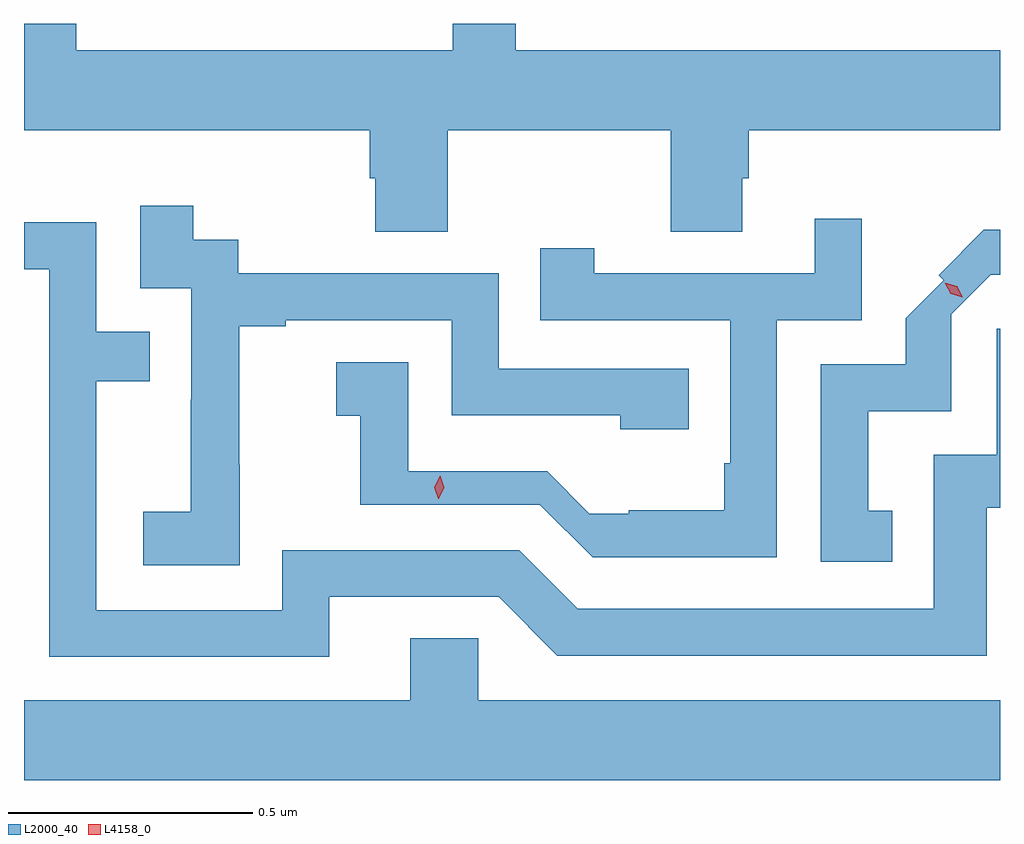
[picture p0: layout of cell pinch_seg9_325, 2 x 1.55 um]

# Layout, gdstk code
import gdstk
lib = gdstk.Library(unit=1e-6, precision=1e-09)
def P(c, l, *ps):  # polygons
    for p in ps: c.add(gdstk.Polygon(p, *l))
L2000_40 = (2000, 40)
L4158_0 = (4158, 0)

pinch_seg9_325 = lib.new_cell('pinch_seg9_325')
P(pinch_seg9_325, L2000_40, [(569.313,1180.436),(569.77,1180.436),(569.77,1180.228),(569.917,1180.228),(569.917,1180.338),(569.93,1180.338),(569.93,1180.436),(570.445,1180.436),(570.445,1180.6),(569.453,1180.6),(569.453,1180.655),(569.324,1180.655),(569.324,1180.6),(568.552,1180.6),(568.552,1180.655),(568.445,1180.655),(568.445,1180.436),(569.153,1180.436),(569.153,1180.338),(569.165,1180.338),(569.165,1180.228),(569.313,1180.228)],
  [(568.887,1179.751),(568.886,1179.751),(568.886,1180.035),(568.981,1180.035),(568.981,1180.047),(569.322,1180.047),(569.322,1179.852),(569.667,1179.852),(569.667,1179.824),(569.807,1179.824),(569.807,1179.948),(569.418,1179.948),(569.418,1180.143),(568.884,1180.143),(568.884,1180.212),(568.792,1180.212),(568.792,1180.282),(568.683,1180.282),(568.683,1180.113),(568.788,1180.113),(568.788,1179.884),(568.787,1179.884),(568.787,1179.655),(568.689,1179.655),(568.689,1179.545),(568.887,1179.545)],
  [(569.988,1180.047),(570.162,1180.047),(570.162,1180.255),(570.065,1180.255),(570.065,1180.143),(569.614,1180.143),(569.614,1180.195),(569.503,1180.195),(569.503,1180.047),(569.892,1180.047),(569.892,1179.754),(569.88,1179.754),(569.88,1179.658),(569.684,1179.658),(569.684,1179.651),(569.603,1179.651),(569.517,1179.738),(569.232,1179.738),(569.232,1179.961),(569.085,1179.961),(569.085,1179.851),(569.134,1179.851),(569.134,1179.669),(569.502,1179.669),(569.61,1179.561),(569.988,1179.561)],
  [(569.071,1179.48),(569.418,1179.48),(569.538,1179.36),(570.418,1179.36),(570.418,1179.663),(570.445,1179.663),(570.445,1180.03),(570.438,1180.03),(570.438,1179.771),(570.309,1179.771),(570.309,1179.456),(569.58,1179.456),(569.46,1179.576),(568.974,1179.576),(568.974,1179.453),(568.593,1179.453),(568.593,1179.922),(568.703,1179.922),(568.703,1180.023),(568.593,1180.023),(568.593,1180.248),(568.445,1180.248),(568.445,1180.152),(568.497,1180.152),(568.497,1179.357),(569.071,1179.357)],
  [(570.224,1179.657),(570.175,1179.657),(570.175,1179.861),(570.345,1179.861),(570.345,1180.059),(570.426,1180.14),(570.445,1180.14),(570.445,1180.232),(570.412,1180.232),(570.319,1180.139),(570.33,1180.129),(570.252,1180.051),(570.252,1179.957),(570.078,1179.957),(570.078,1179.552),(570.224,1179.552)],
  [(570.445,1179.268),(569.376,1179.268),(569.376,1179.395),(569.237,1179.395),(569.237,1179.268),(568.445,1179.268),(568.445,1179.104),(570.445,1179.104)])
P(pinch_seg9_325, L4158_0, [(570.368,1180.094),(570.344,1180.101),(570.332,1180.124),(570.332,1180.124),(570.332,1180.124),(570.357,1180.117),(570.369,1180.094),(570.369,1180.094)],
  [(569.294,1179.681),(569.286,1179.705),(569.298,1179.728),(569.298,1179.728),(569.298,1179.728),(569.306,1179.704),(569.295,1179.681),(569.295,1179.681)])

lib.write_gds('pinch_seg9_325.gds')
